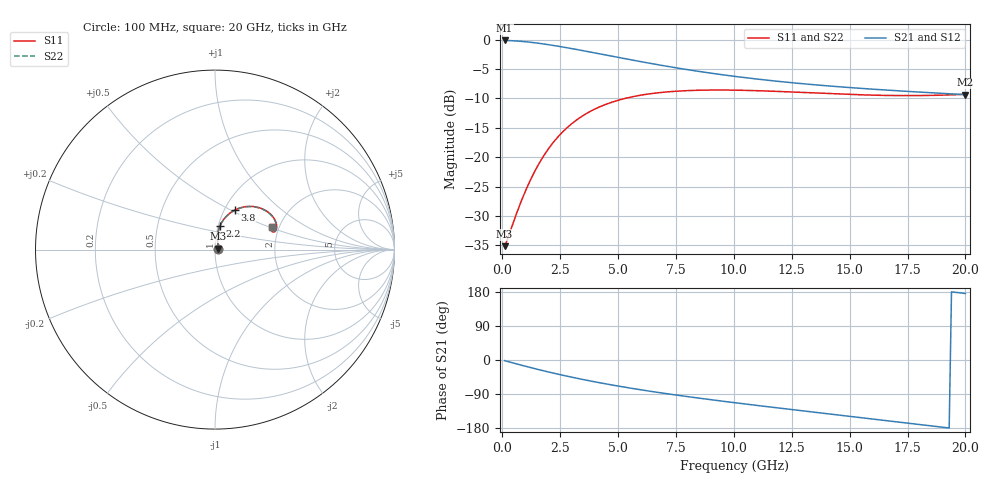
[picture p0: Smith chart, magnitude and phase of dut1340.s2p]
! Touchstone file exported from HFSS 2024.1.0
!  File:  C:/UserFiles/LocalFiles/RDL_TSV_Batchsim/temp_RDL_TSV_1340_1780391800.aedt
!  Generated:  05:30:30 PM Jun  2, 2026
!  Design:  RDL_TSV
!  Project:  temp_RDL_TSV_1340_1780391800
!  Setup:  Setup1
!  Solution:  Sweep
! Variables:
!  dtsv = 7.93um
!  hbump = 3um
!  htsv = 87.49um
!  ldown = 420.58um
!  lrdl = 291.4um
!  p = 40
!  p1 = 58.45um
!  rhole = 10um
!  subl = 2427.34um
!  t = 450um
!  tdown = 3.42um
!  trdl = 4.6um
!  viad = 10um
!  wdown = 11.49um
!  wrdl = 19.56um
!  xbump = 18um
# GHz S MA R 50.000000
! Terminal data exported
! Port[1] = TM1_1_T1
! Port[2] = TM1_4_T1
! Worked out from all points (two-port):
!   200 points, 100 MHz to 20 GHz, reference 50 ohm
!   highest |S21| = -0.15 dB at 100 MHz (marker M1); lowest = -9.4 dB at 20 GHz (marker M2)
!   |S21| within 3 dB of the highest: start of sweep to 5.163 GHz
!   lowest |S11| = -35.1 dB at 100 MHz (marker M3), VSWR 1.04, Z = 51.7 + j0.503 ohm
!   |S11| at or under -10 dB: start of sweep to 5.314 GHz
!   |S22| runs from -35.1 to -8.6 dB; largest |S21 - S12| = 2.7e-14
!   S11 on the Smith chart (normalised r, x): 100 MHz: 1.03, +0.01; 2.2 GHz: 1.02, +0.27; 3.8 GHz: 1.12, +0.52; 20 GHz: 1.84, +0.52
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0.1  0.0175 16.1  0.9829 -1.7  0.9829 -1.7  0.0175 16.1
! Gamma 0 0 0 0
! Port Impedance 50 0 50 0
0.2  0.01947 29.5  0.9818 -3.4  0.9818 -3.4  0.01947 29.5
0.5  0.02874 54.7  0.9761 -8.4  0.9761 -8.4  0.02875 54.6
0.8  0.04132 68.3  0.9669 -13.3  0.9669 -13.3  0.04132 68.2
1.2  0.06302 77.2  0.9499 -19.7  0.9499 -19.7  0.06297 77.1
1.7  0.09633 80.1  0.923 -27.3  0.923 -27.3  0.09617 80.0
2.2  0.1333 78.4  0.8919 -34.5  0.8919 -34.5  0.133 78.2
2.8  0.1782 73.5  0.8518 -42.8  0.8518 -42.8  0.1777 73.4
3.5  0.2265 66.6  0.8038 -51.7  0.8038 -51.7  0.2258 66.5
3.8  0.245 63.6  0.7834 -55.3  0.7834 -55.3  0.2443 63.5
4.4  0.2777 57.7  0.7436 -62.2  0.7436 -62.2  0.2768 57.6
5.1  0.3084 51.4  0.6996 -69.8  0.6996 -69.8  0.3073 51.2
5.9  0.3344 44.9  0.6534 -77.9  0.6534 -77.9  0.3332 44.7
6.8  0.354 38.6  0.6072 -86.3  0.6072 -86.3  0.3527 38.4
8.3  0.3699 30.2  0.5432 -99.1  0.5432 -99.1  0.3684 30.1
10.1  0.3712 23.2  0.4848 -113.2  0.4848 -113.2  0.3696 23.1
11.7  0.3636 19.2  0.4458 -125.0  0.4458 -125.0  0.3619 19.1
13.4  0.3519 17.0  0.414 -137.2  0.414 -137.2  0.3502 16.9
15  0.3415 16.7  0.3907 -148.6  0.3907 -148.6  0.3399 16.5
16.7  0.3347 17.7  0.3708 -160.8  0.3708 -160.8  0.3331 17.6
18.3  0.3347 19.5  0.355 -172.2  0.355 -172.2  0.3331 19.4
20  0.3425 21.5  0.3403 175.5  0.3403 175.5  0.341 21.4
